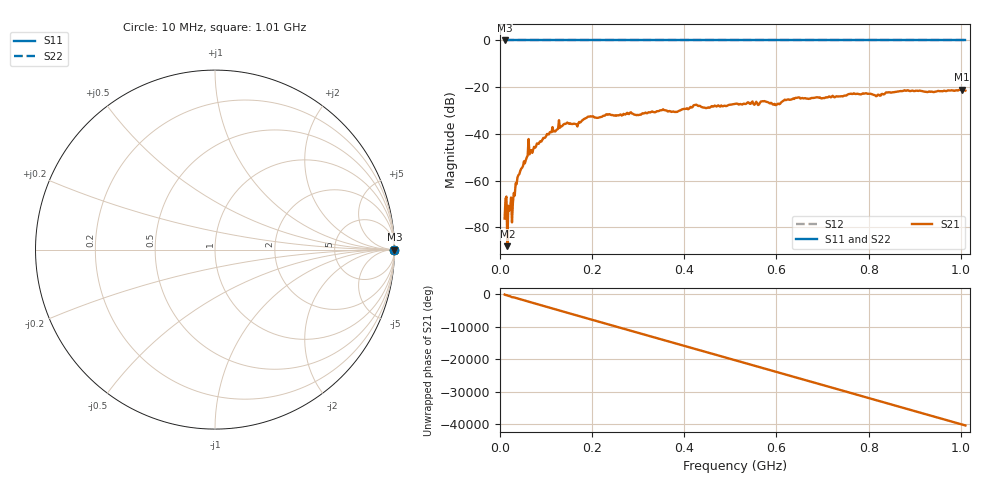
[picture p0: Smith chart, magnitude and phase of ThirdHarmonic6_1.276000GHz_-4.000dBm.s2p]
! 8/16/2025 1:50:23 PM
! C:\ANRITSUVNA\TEMP\TEMP.S2P
! CHANNEL.1
! TR.MEASUREMENT
! RAW.DATA
! RF.CORRECTION.OFF
! AVERAGING.OFF
! IF.BANDWIDTH: 5KHZ
! SWEEPTYPE:  FREQ.SWEEP(Linear)
! Reference Plane Port Info
! PORT:  PORT1  PORT2
! DISTANCE:  0  m  0  m
! TIME:  0  s  0  s
! PHASE.OFFSET:  0  deg.  0  deg.
! LOSS:  0  dB  0  dB
! REF.LOSS:  0  dB  0  dB
! REF.FREQ:  0  Hz  0  Hz
! Power Info
! POWER:  -20  dBm  -20  dBm
! EFF.POWER:  -20  dBm  -20  dBm
! SOURCE.ATTEN:  0  dB  0  dB
! TEST.ATTEN:  0  dB  0  dB
# GHZ S RI R 50.0
! FREQ.GHZ  S11RE  S11IM  S21RE  S21IM  S12RE  S12IM  S22RE  S22IM
!; PortSelection: Port_12
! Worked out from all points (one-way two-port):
!   501 points, 10 MHz to 1.01 GHz, reference 50 ohm
!   highest |S21| = -21.00 dB at 1.002 GHz (marker M1); lowest = -88.1 dB at 16 MHz (marker M2)
!   lowest |S11| = 0.0 dB at 10 MHz (marker M3)
!   |S11| at or under -10 dB: nowhere
!   |S22| runs from 0.0 to 0.0 dB; largest |S21 - S12| = 1.1
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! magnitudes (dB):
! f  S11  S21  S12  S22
! 10 MHz  0.0  -76.3  0.0  0.0
! 12 MHz  0.0  -67.7  0.0  0.0
! 16 MHz  0.0  -88.1  0.0  0.0
! 24 MHz  0.0  -67.2  0.0  0.0
! 30 MHz  0.0  -65.3  0.0  0.0
! 32 MHz  0.0  -66.4  0.0  0.0
! 38 MHz  0.0  -58.6  0.0  0.0
! 64 MHz  0.0  -48.7  0.0  0.0
! 68 MHz  0.0  -46.9  0.0  0.0
! 110 MHz  0.0  -39.2  0.0  0.0
! 132 MHz  0.0  -36.9  0.0  0.0
! 178 MHz  0.0  -34.3  0.0  0.0
! 194 MHz  0.0  -32.6  0.0  0.0
! 344 MHz  0.0  -30.3  0.0  0.0
! 510 MHz  0.0  -27.2  0.0  0.0
! 572 MHz  0.0  -26.0  0.0  0.0
! 596 MHz  0.0  -27.1  0.0  0.0
! 644 MHz  0.0  -24.6  0.0  0.0
! 678 MHz  0.0  -24.6  0.0  0.0
! 844 MHz  0.0  -22.2  0.0  0.0
! 1.002 GHz  0.0  -21.0  0.0  0.0
! 1.01 GHz  0.0  -21.5  0.0  0.0
